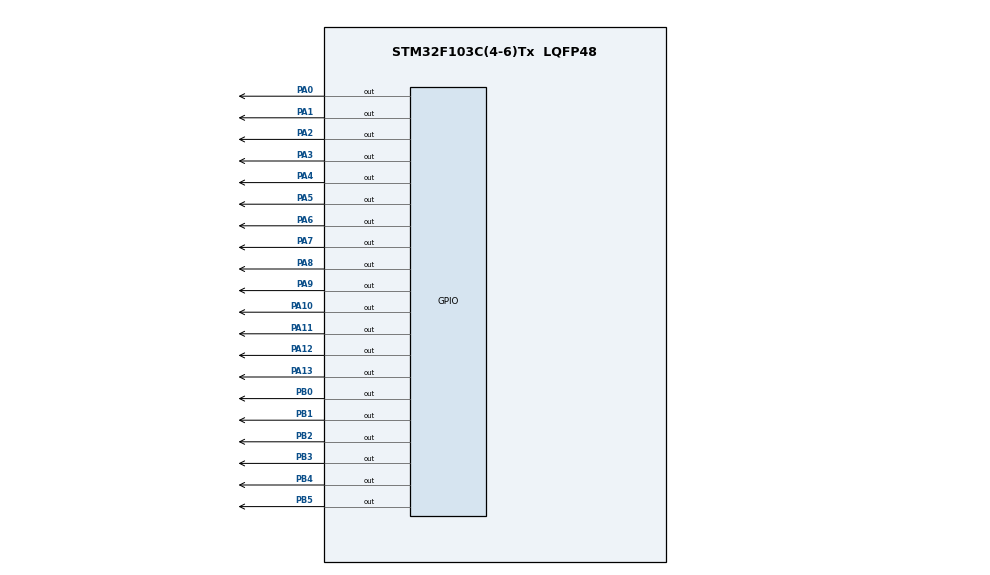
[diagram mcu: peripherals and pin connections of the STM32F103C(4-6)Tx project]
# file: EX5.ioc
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Mcu.Family=STM32F1
Mcu.Name=STM32F103C(4-6)Tx
Mcu.Package=LQFP48
NVIC.PriorityGroup=NVIC_PRIORITYGROUP_4
PA0-WKUP.Signal=GPIO_Output
PA1.Signal=GPIO_Output
PA10.Signal=GPIO_Output
PA11.Signal=GPIO_Output
PA12.Signal=GPIO_Output
PA13.Signal=GPIO_Output
PA2.Signal=GPIO_Output
PA3.Signal=GPIO_Output
PA4.Signal=GPIO_Output
PA5.Signal=GPIO_Output
PA6.Signal=GPIO_Output
PA7.Signal=GPIO_Output
PA8.Signal=GPIO_Output
PA9.Signal=GPIO_Output
PB0.Signal=GPIO_Output
PB1.Signal=GPIO_Output
PB2.Signal=GPIO_Output
PB3.Signal=GPIO_Output
PB4.Signal=GPIO_Output
PB5.Signal=GPIO_Output
PD0-OSC_IN.Mode=HSE-External-Oscillator
PD0-OSC_IN.Signal=RCC_OSC_IN
PD1-OSC_OUT.Mode=HSE-External-Oscillator
PD1-OSC_OUT.Signal=RCC_OSC_OUT
ProjectManager.HeapSize=0x200
ProjectManager.StackSize=0x400
ProjectManager.TargetToolchain=STM32CubeIDE
RCC.APB1Freq_Value=8000000
RCC.APB2Freq_Value=8000000
VP_SYS_VS_ND.Mode=No_Debug
board=custom

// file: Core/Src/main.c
/* USER CODE BEGIN Header */
/**
  ******************************************************************************
  * @file           : main.c
  * @brief          : Main program body
  ******************************************************************************
  * @attention
  *
  * <h2><center>&copy; Copyright (c) 2021 STMicroelectronics.
  * All rights reserved.</center></h2>
  *
  * This software component is licensed by ST under BSD 3-Clause license,
  * the "License"; You may not use this file except in compliance with the
  * License. You may obtain a copy of the License at:
  *                        opensource.org/licenses/BSD-3-Clause
  *
  ******************************************************************************
  */
/* USER CODE END Header */
#include "main.h"

void SystemClock_Config(void);
static void MX_GPIO_Init(void);

uint8_t segmentNumber[10] = {
		0x40,  // 0
		0x79,  // 1
		0x24,  // 2
		0x30,  // 3
		0x19,  // 4
		0x12,  // 5
		0x02,  // 6
		0x78,  // 7
		0x00,  // 8
		0x10   // 9
};

/* USER CODE BEGIN 0 */
void displayLed(int num) {
	switch (num) {
	case 0: //Den do o hang, den xanh o cot
		HAL_GPIO_WritePin(GPIOB, GPIO_PIN_0, RESET);
		HAL_GPIO_WritePin(GPIOB, GPIO_PIN_1, SET);
		HAL_GPIO_WritePin(GPIOB, GPIO_PIN_2, SET);
		HAL_GPIO_WritePin(GPIOB, GPIO_PIN_3, SET);
		HAL_GPIO_WritePin(GPIOB, GPIO_PIN_4, SET);
		HAL_GPIO_WritePin(GPIOB, GPIO_PIN_5, RESET);
		//HAL_Delay(3000);
		break;
	case 1: //Den do o hang va den vang o cot
		HAL_GPIO_WritePin(GPIOB, GPIO_PIN_0, SET);
		HAL_GPIO_WritePin(GPIOB, GPIO_PIN_1, RESET);
		HAL_GPIO_WritePin(GPIOB, GPIO_PIN_2, SET);
		HAL_GPIO_WritePin(GPIOB, GPIO_PIN_3, SET);
		HAL_GPIO_WritePin(GPIOB, GPIO_PIN_4, SET);
		HAL_GPIO_WritePin(GPIOB, GPIO_PIN_5, RESET);
		//HAL_Delay(2000);
		break;
	case 2: //Den xanh o hang va den do o cot
		HAL_GPIO_WritePin(GPIOB, GPIO_PIN_0, SET);
		HAL_GPIO_WritePin(GPIOB, GPIO_PIN_1, SET);
		HAL_GPIO_WritePin(GPIOB, GPIO_PIN_2, RESET);
		HAL_GPIO_WritePin(GPIOB, GPIO_PIN_3, RESET);
		HAL_GPIO_WritePin(GPIOB, GPIO_PIN_4, SET);
		HAL_GPIO_WritePin(GPIOB, GPIO_PIN_5, SET);
		//HAL_Delay(3000);
		break;
	case 3: //Den vang o hang va den do o cot
		HAL_GPIO_WritePin(GPIOB, GPIO_PIN_0, SET);
		HAL_GPIO_WritePin(GPIOB, GPIO_PIN_1, SET);
		HAL_GPIO_WritePin(GPIOB, GPIO_PIN_2, RESET);
		HAL_GPIO_WritePin(GPIOB, GPIO_PIN_3, SET);
		HAL_GPIO_WritePin(GPIOB, GPIO_PIN_4, RESET);
		HAL_GPIO_WritePin(GPIOB, GPIO_PIN_5, SET);
		//HAL_Delay(2000);
		break;
	}
}

void display7SEG1(uint8_t number){
	HAL_GPIO_WritePin(GPIOA, GPIO_PIN_6, ((number>>0)&0x01));
	HAL_GPIO_WritePin(GPIOA, GPIO_PIN_5, ((number>>1)&0x01));
	HAL_GPIO_WritePin(GPIOA, GPIO_PIN_4, ((number>>2)&0x01));
	HAL_GPIO_WritePin(GPIOA, GPIO_PIN_3, ((number>>3)&0x01));
	HAL_GPIO_WritePin(GPIOA, GPIO_PIN_2, ((number>>4)&0x01));
	HAL_GPIO_WritePin(GPIOA, GPIO_PIN_1, ((number>>5)&0x01));
	HAL_GPIO_WritePin(GPIOA, GPIO_PIN_0, ((number>>6)&0x01));
}

void display7SEG2(uint8_t number){
	HAL_GPIO_WritePin(GPIOA, GPIO_PIN_13, ((number>>0)&0x01));
	HAL_GPIO_WritePin(GPIOA, GPIO_PIN_12, ((number>>1)&0x01));
	HAL_GPIO_WritePin(GPIOA, GPIO_PIN_11, ((number>>2)&0x01));
	HAL_GPIO_WritePin(GPIOA, GPIO_PIN_10, ((number>>3)&0x01));
	HAL_GPIO_WritePin(GPIOA, GPIO_PIN_9, ((number>>4)&0x01));
	HAL_GPIO_WritePin(GPIOA, GPIO_PIN_8, ((number>>5)&0x01));
	HAL_GPIO_WritePin(GPIOA, GPIO_PIN_7, ((number>>6)&0x01));
}
/* USER CODE END 0 */

int main(void)
{

  /* MCU Configuration--------------------------------------------------------*/

  /* Reset of all peripherals, Initializes the Flash interface and the Systick. */
  HAL_Init();

  /* Configure the system clock */
  SystemClock_Config();

  /* Initialize all configured peripherals */
  MX_GPIO_Init();
  /* USER CODE BEGIN 2 */
  int count = 0;
  while (1)
  {
      /* USER CODE END WHILE */
  	  switch (count) {
  		case 0:
  			count = 1;
  			display7SEG2(segmentNumber[5]);
  			display7SEG1(segmentNumber[3]);
  			displayLed(0);
  			HAL_Delay(2000);
  			display7SEG2(segmentNumber[4]);
  			display7SEG1(segmentNumber[2]);
  			HAL_Delay(2000);
  			display7SEG2(segmentNumber[3]);
  			display7SEG1(segmentNumber[1]);
  			HAL_Delay(2000);
  			display7SEG2(segmentNumber[2]);
  			display7SEG1(segmentNumber[0]);
  			HAL_Delay(2000);
  			display7SEG2(segmentNumber[1]);
  			display7SEG1(segmentNumber[1]);
  			displayLed(1);
  			HAL_Delay(2000);
  			display7SEG2(segmentNumber[0]);
  			display7SEG1(segmentNumber[0]);
  			HAL_Delay(2000);
  			break;
  		case 1:
  			count = 0;
  			display7SEG1(segmentNumber[5]);
  			display7SEG2(segmentNumber[3]);
  			displayLed(2);
  			HAL_Delay(2000);
  			display7SEG1(segmentNumber[4]);
  			display7SEG2(segmentNumber[2]);
  			HAL_Delay(2000);
  			display7SEG1(segmentNumber[3]);
  			display7SEG2(segmentNumber[1]);
  			HAL_Delay(2000);
  			display7SEG1(segmentNumber[2]);
  			display7SEG2(segmentNumber[0]);
  			HAL_Delay(2000);
  			display7SEG1(segmentNumber[1]);
  			display7SEG2(segmentNumber[1]);
  			displayLed(3);
  			HAL_Delay(2000);
  			display7SEG1(segmentNumber[0]);
  			display7SEG2(segmentNumber[0]);
  			HAL_Delay(2000);
  			break;
  		default :
  			break;
  	}

    }
  }

void SystemClock_Config(void)
{
  RCC_OscInitTypeDef RCC_OscInitStruct = {0};
  RCC_ClkInitTypeDef RCC_ClkInitStruct = {0};

  /** Initializes the RCC Oscillators according to the specified parameters
  * in the RCC_OscInitTypeDef structure.
  */
  RCC_OscInitStruct.OscillatorType = RCC_OSCILLATORTYPE_HSI;
  RCC_OscInitStruct.HSIState = RCC_HSI_ON;
  RCC_OscInitStruct.HSICalibrationValue = RCC_HSICALIBRATION_DEFAULT;
  RCC_OscInitStruct.PLL.PLLState = RCC_PLL_NONE;
  if (HAL_RCC_OscConfig(&RCC_OscInitStruct) != HAL_OK)
  {
    Error_Handler();
  }
  /** Initializes the CPU, AHB and APB buses clocks
  */
  RCC_ClkInitStruct.ClockType = RCC_CLOCKTYPE_HCLK|RCC_CLOCKTYPE_SYSCLK
                              |RCC_CLOCKTYPE_PCLK1|RCC_CLOCKTYPE_PCLK2;
  RCC_ClkInitStruct.SYSCLKSource = RCC_SYSCLKSOURCE_HSI;
  RCC_ClkInitStruct.AHBCLKDivider = RCC_SYSCLK_DIV1;
  RCC_ClkInitStruct.APB1CLKDivider = RCC_HCLK_DIV1;
  RCC_ClkInitStruct.APB2CLKDivider = RCC_HCLK_DIV1;

  if (HAL_RCC_ClockConfig(&RCC_ClkInitStruct, FLASH_LATENCY_0) != HAL_OK)
  {
    Error_Handler();
  }
}

static void MX_GPIO_Init(void)
{
  GPIO_InitTypeDef GPIO_InitStruct = {0};

  /* GPIO Ports Clock Enable */
  __HAL_RCC_GPIOD_CLK_ENABLE();
  __HAL_RCC_GPIOA_CLK_ENABLE();
  __HAL_RCC_GPIOB_CLK_ENABLE();

  /*Configure GPIO pin Output Level */
  HAL_GPIO_WritePin(GPIOA, GPIO_PIN_0|GPIO_PIN_1|GPIO_PIN_2|GPIO_PIN_3
                          |GPIO_PIN_4|GPIO_PIN_5|GPIO_PIN_6|GPIO_PIN_7
                          |GPIO_PIN_8|GPIO_PIN_9|GPIO_PIN_10|GPIO_PIN_11
                          |GPIO_PIN_12|GPIO_PIN_13, GPIO_PIN_RESET);

  /*Configure GPIO pin Output Level */
  HAL_GPIO_WritePin(GPIOB, GPIO_PIN_0|GPIO_PIN_1|GPIO_PIN_2|GPIO_PIN_3
                          |GPIO_PIN_4|GPIO_PIN_5, GPIO_PIN_RESET);

  /*Configure GPIO pins : PA0 PA1 PA2 PA3
                           PA4 PA5 PA6 PA7
                           PA8 PA9 PA10 PA11
                           PA12 PA13 */
  GPIO_InitStruct.Pin = GPIO_PIN_0|GPIO_PIN_1|GPIO_PIN_2|GPIO_PIN_3
                          |GPIO_PIN_4|GPIO_PIN_5|GPIO_PIN_6|GPIO_PIN_7
                          |GPIO_PIN_8|GPIO_PIN_9|GPIO_PIN_10|GPIO_PIN_11
                          |GPIO_PIN_12|GPIO_PIN_13;
  GPIO_InitStruct.Mode = GPIO_MODE_OUTPUT_PP;
  GPIO_InitStruct.Pull = GPIO_NOPULL;
  GPIO_InitStruct.Speed = GPIO_SPEED_FREQ_LOW;
  HAL_GPIO_Init(GPIOA, &GPIO_InitStruct);

  /*Configure GPIO pins : PB0 PB1 PB2 PB3
                           PB4 PB5 */
  GPIO_InitStruct.Pin = GPIO_PIN_0|GPIO_PIN_1|GPIO_PIN_2|GPIO_PIN_3
                          |GPIO_PIN_4|GPIO_PIN_5;
  GPIO_InitStruct.Mode = GPIO_MODE_OUTPUT_PP;
  GPIO_InitStruct.Pull = GPIO_NOPULL;
  GPIO_InitStruct.Speed = GPIO_SPEED_FREQ_LOW;
  HAL_GPIO_Init(GPIOB, &GPIO_InitStruct);

}

void Error_Handler(void)
{
  __disable_irq();
  while (1)
  {
  }
}

/************************ (C) COPYRIGHT STMicroelectronics *****END OF FILE****/
